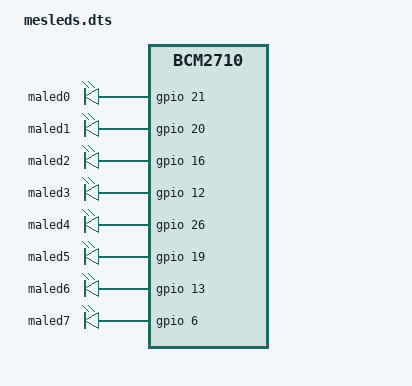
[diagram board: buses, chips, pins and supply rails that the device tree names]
/dts-v1/;
/plugin/;

/ {
   compatible = "brcm,bcm2708", "brcm,bcm2709", "brcm,bcm2710";

   fragment@0 {
       target = <&leds>;
       __overlay__ {
           ma_led0: maled0 {
               label = "maled0";
               gpios = <&gpio 21 0>;
               linux,default-trigger = "timer";
           };
           ma_led1: maled1 {
               label = "maled1";
               gpios = <&gpio 20 0>;
               linux,default-trigger = "heartbeat";
           };
           ma_led2: maled2 {
               label = "maled2";
               gpios = <&gpio 16 0>;
               linux,default-trigger = "timer";
           };
           ma_led3: maled3 {
               label = "maled3";
               gpios = <&gpio 12 0>;
               linux,default-trigger = "mmc0";
           };
           ma_led4: maled4 {
               label = "maled4";
               gpios = <&gpio 26 0>;
               linux,default-trigger = "cpu0";
           };
           ma_led5: maled5 {
               label = "maled5";
               gpios = <&gpio 19 0>;
               linux,default-trigger = "cpu1";
           };
           ma_led6: maled6 {
               label = "maled6";
               gpios = <&gpio 13 0>;
               linux,default-trigger = "cpu2";
           };
           ma_led7: maled7 {
               label = "maled7";
               gpios = <&gpio 6 0>;
               linux,default-trigger = "cpu3";
           };
       };
   };
};
